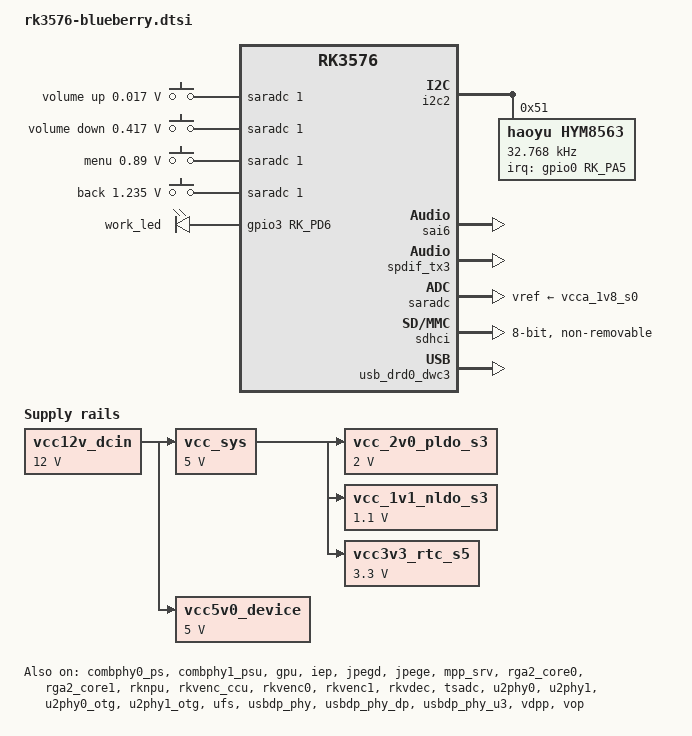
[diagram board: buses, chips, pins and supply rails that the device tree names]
// SPDX-License-Identifier: (GPL-2.0+ OR MIT)
/*
 * Copyright (c) 2024 Rockchip Electronics Co., Ltd.
 *
 */

#include <dt-bindings/gpio/gpio.h>
#include <dt-bindings/pwm/pwm.h>
#include <dt-bindings/pinctrl/rockchip.h>
#include <dt-bindings/input/rk-input.h>
#include <dt-bindings/display/drm_mipi_dsi.h>
#include <dt-bindings/display/rockchip_vop.h>
#include <dt-bindings/sensor-dev.h>
#include "rk3576-evb-input-keymap.dtsi"

/ {
	adc_keys: adc-keys {
		compatible = "adc-keys";
		io-channels = <&saradc 1>;
		io-channel-names = "buttons";
		keyup-threshold-microvolt = <1800000>;
		poll-interval = <100>;

		vol-up-key {
			label = "volume up";
			linux,code = <KEY_VOLUMEUP>;
			press-threshold-microvolt = <17000>;
		};

		vol-down-key {
			label = "volume down";
			linux,code = <KEY_VOLUMEDOWN>;
			press-threshold-microvolt = <417000>;
		};

		menu-key {
			label = "menu";
			linux,code = <KEY_MENU>;
			press-threshold-microvolt = <890000>;
		};

		back-key {
			label = "back";
			linux,code = <KEY_BACK>;
			press-threshold-microvolt = <1235000>;
		};
	};

	dp0_sound: dp0-sound {
		status = "disabled";
		compatible = "rockchip,hdmi";
		rockchip,mclk-fs = <512>;
		rockchip,card-name = "rockchip-dp0";
		rockchip,cpu = <&spdif_tx3>;
		rockchip,codec = <&dp0 1>;
		rockchip,jack-det;
	};

	dp1_sound: dp1-sound {
		status = "disabled";
		compatible = "rockchip,hdmi";
		rockchip,mclk-fs = <512>;
		rockchip,card-name = "rockchip-dp1";
		rockchip,cpu = <&spdif_tx3>;
		rockchip,codec = <&dp1 1>;
		rockchip,jack-det;
	};

	dp2_sound: dp2-sound {
		status = "disabled";
		compatible = "rockchip,hdmi";
		rockchip,mclk-fs = <512>;
		rockchip,card-name = "rockchip-dp2";
		rockchip,cpu = <&spdif_tx3>;
		rockchip,codec = <&dp2 1>;
		rockchip,jack-det;
	};

	hdmi_sound: hdmi-sound {
		compatible = "rockchip,hdmi";
		rockchip,mclk-fs = <128>;
		rockchip,card-name = "rockchip-hdmi";
		rockchip,cpu = <&sai6>;
		rockchip,codec = <&hdmi>;
		rockchip,jack-det;
	};

	leds: leds {
		compatible = "gpio-leds";
		work_led: work {
			gpios = <&gpio3 RK_PD6 GPIO_ACTIVE_HIGH>;
			linux,default-trigger = "heartbeat";
		};
	};

	test-power {
		status = "okay";
	};

	vcc12v_dcin: vcc12v-dcin {
		compatible = "regulator-fixed";
		regulator-name = "vcc12v_dcin";
		regulator-always-on;
		regulator-boot-on;
		regulator-min-microvolt = <12000000>;
		regulator-max-microvolt = <12000000>;
	};

	vcc_sys: vcc5v0-sys {
		compatible = "regulator-fixed";
		regulator-name = "vcc_sys";
		regulator-always-on;
		regulator-boot-on;
		regulator-min-microvolt = <5000000>;
		regulator-max-microvolt = <5000000>;
		vin-supply = <&vcc12v_dcin>;
	};

	vcc5v0_device: vcc5v0-device {
		compatible = "regulator-fixed";
		regulator-name = "vcc5v0_device";
		regulator-always-on;
		regulator-boot-on;
		regulator-min-microvolt = <5000000>;
		regulator-max-microvolt = <5000000>;
		vin-supply = <&vcc12v_dcin>;
	};

	vcc_2v0_pldo_s3: vcc-2v0-pldo-s3 {
		compatible = "regulator-fixed";
		regulator-name = "vcc_2v0_pldo_s3";
		regulator-boot-on;
		regulator-always-on;
		regulator-min-microvolt = <2000000>;
		regulator-max-microvolt = <2000000>;
		vin-supply = <&vcc_sys>;
	};

	vcc_1v1_nldo_s3: vcc-1v1-nldo-s3 {
		compatible = "regulator-fixed";
		regulator-name = "vcc_1v1_nldo_s3";
		regulator-boot-on;
		regulator-always-on;
		regulator-min-microvolt = <1100000>;
		regulator-max-microvolt = <1100000>;
		vin-supply = <&vcc_sys>;
	};

	vcc3v3_rtc_s5: vcc3v3-rtc-s5 {
		compatible = "regulator-fixed";
		regulator-name = "vcc3v3_rtc_s5";
		regulator-boot-on;
		regulator-always-on;
		regulator-min-microvolt = <3300000>;
		regulator-max-microvolt = <3300000>;
		vin-supply = <&vcc_sys>;
	};
};

&combphy0_ps {
	status = "okay";
};

&combphy1_psu {
	status = "okay";
};

&cpu_l0 {
	cpu-supply = <&vdd_cpu_lit_s0>;
};

&cpu_b0 {
	cpu-supply = <&vdd_cpu_big_s0>;
};

&display_subsystem {
	clocks = <&hdptxphy_hdmi>;
	clock-names = "hdmi0_phy_pll";
};

&gpu {
	mali-supply = <&vdd_gpu_s0>;
	status = "okay";
};

&i2c2 {
	status = "okay";

	hym8563: hym8563@51 {
		compatible = "haoyu,hym8563";
		reg = <0x51>;
		#clock-cells = <0>;
		clock-frequency = <32768>;
		clock-output-names = "hym8563";
		pinctrl-names = "default";
		pinctrl-0 = <&hym8563_int>;
		interrupt-parent = <&gpio0>;
		interrupts = <RK_PA5 IRQ_TYPE_LEVEL_LOW>;
		wakeup-source;
	};
};

&iep {
	status = "okay";
};

&iep_mmu {
	status = "okay";
};

&jpegd {
	status = "okay";
};

&jpege {
	status = "okay";
};

&jpeg_mmu {
	status = "okay";
};

&mpp_srv {
	status = "okay";
};

&pinctrl {
	hym8563 {
		hym8563_int: hym8563-int {
			rockchip,pins = <0 RK_PA5 RK_FUNC_GPIO &pcfg_pull_up>;
		};
	};
};

&rga2_core0 {
	status = "okay";
};

&rga2_core0_mmu {
	status = "okay";
};

&rga2_core1 {
	status = "okay";
};

&rga2_core1_mmu {
	status = "okay";
};

&rknpu {
	rknpu-supply = <&vdd_npu_s0>;
	status = "okay";
};

&rknpu_mmu {
	status = "okay";
};

&rkvenc_ccu {
	status = "okay";
};

&rkvenc0 {
	status = "okay";
};

&rkvenc0_mmu {
	status = "okay";
};

&rkvenc1 {
	status = "okay";
};

&rkvenc1_mmu {
	status = "okay";

};

&rkvdec {
	status = "okay";
};

&rkvdec_mmu {
	status = "okay";
};

&rockchip_suspend {
	status = "okay";
	rockchip,sleep-debug-en = <1>;

	rockchip,sleep-io-ret-config = <
		(0
		| RKPM_VCCIO3_RET_EN
		)
	>;
};

&sai6 {
	status = "okay";
};

&spdif_tx3 {
	status = "okay";
};

&saradc {
	status = "okay";
	vref-supply = <&vcca_1v8_s0>;
};

&sdhci {
	bus-width = <8>;
	no-sdio;
	no-sd;
	non-removable;
	max-frequency = <200000000>;
	mmc-hs400-1_8v;
	mmc-hs400-enhanced-strobe;
	full-pwr-cycle-in-suspend;
	status = "okay";
};

&sdmmc {
	max-frequency = <200000000>;
	no-sdio;
	no-mmc;
	bus-width = <4>;
	cap-mmc-highspeed;
	cap-sd-highspeed;
	disable-wp;
	sd-uhs-sdr104;
	vqmmc-supply = <&vccio_sd_s0>;
	status = "disabled";
};

&tsadc {
	status = "okay";
};

&u2phy0 {
	status = "okay";
};

&u2phy1 {
	status = "okay";
};

&u2phy0_otg {
	status = "okay";
};

&u2phy1_otg {
	status = "okay";
};

&ufs {
	status = "okay";
	reset-gpios = <&gpio4 RK_PD0 GPIO_ACTIVE_HIGH>;
};

&usbdp_phy {
	status = "okay";
};

&usbdp_phy_dp {
	status = "okay";
};

&usbdp_phy_u3 {
	status = "okay";
};

&usb_drd0_dwc3 {
	status = "okay";
};

&vdpp {
	status = "okay";
};

&vop {
	status = "okay";
	vop-supply = <&vdd_logic_s0>;
};

&vop_mmu {
	status = "okay";
};

&vp2 {
	assigned-clocks = <&cru DCLK_VP2_SRC>;
	assigned-clock-parents = <&cru PLL_VPLL>;
};
